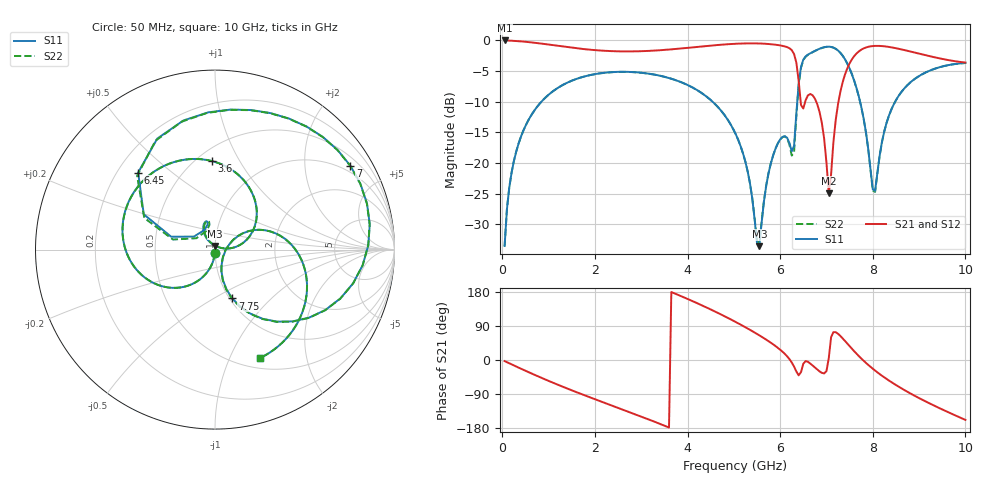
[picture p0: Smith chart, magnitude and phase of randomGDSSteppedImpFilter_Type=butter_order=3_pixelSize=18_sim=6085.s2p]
! freq	dB(S11)	phase(S11)	dB(S12)	phase(S12)
!  dB(S21)	phase(S21)	dB(S22)	phase(S22)
!S-par simulation data
#  GHz  S  DB  R 50
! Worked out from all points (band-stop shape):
!   200 points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, 50 MHz to 10 GHz, reference 50 ohm
!   highest |S21| = -0.01 dB at 50 MHz (marker M1); lowest = -25.0 dB at 7.05 GHz (marker M2)
!   |S21| within 3 dB of the highest: start of sweep to 6.328 GHz; 7.557 GHz to 9.491 GHz (1.934 GHz wide, 22.7 % of centre)
!   lowest |S11| = -33.6 dB at 5.55 GHz (marker M3), VSWR 1.04, Z = 50.1 + j2.09 ohm
!   |S11| at or under -10 dB: start of sweep to 845.3 MHz; 4.54 GHz to 6.37 GHz (1.829 GHz wide, 33.5 % of centre); 7.725 GHz to 8.484 GHz (758.6 MHz wide, 9.36 % of centre)
!   |S22| runs from -33.6 to -1.0 dB; largest |S21 - S12| = 0
!   S11 on the Smith chart (normalised r, x): 50 MHz: 1.00, -0.04; 3.6 GHz: 0.59, +0.77; 6.45 GHz: 0.28, +0.39; 7 GHz: 0.77, +3.36; 7.75 GHz: 1.03, -0.61; 10 GHz: 0.62, -1.31
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0.05  -33.56 -92.9  -0.01 -2.9  -0.01 -2.9  -33.58 -92.9
0.2  -21.60 -101.9  -0.05 -11.5  -0.05 -11.5  -21.59 -101.9
0.5  -13.97 -118.9  -0.22 -28.4  -0.22 -28.4  -13.96 -119.0
1.75  -5.93 177.6  -1.41 -91.9  -1.41 -91.9  -5.93 177.5
3.4  -5.75 101.6  -1.60 -168.3  -1.60 -168.3  -5.75 101.5
3.6  -6.14 91.9  -1.49 -178.2  -1.49 -178.2  -6.14 91.7
4.35  -8.82 53.2  -0.95 142.0  -0.95 142.0  -8.82 53.0
5.05  -15.46 14.7  -0.54 99.7  -0.54 99.7  -15.46 14.6
5.55  -33.59 86.8  -0.50 65.1  -0.50 65.1  -33.13 85.0
5.85  -18.73 122.7  -0.66 41.2  -0.66 41.2  -18.71 120.9
6.2  -16.73 106.4  -1.27 2.4  -1.27 2.4  -16.99 102.5
6.3  -17.22 148.2  -2.22 -17.4  -2.22 -17.4  -18.28 148.8
6.45  -4.34 134.9  -10.54 -32.0  -10.54 -32.0  -4.47 136.5
6.7  -1.90 75.4  -8.95 -14.6  -8.95 -14.6  -1.92 75.8
7  -1.04 31.7  -19.96 -29.4  -19.96 -29.4  -1.05 31.8
7.05  -1.02 24.4  -24.95 5.1  -24.95 5.1  -1.03 24.4
7.3  -2.02 -13.7  -8.39 63.5  -8.39 63.5  -2.03 -13.8
7.75  -10.79 -70.5  -1.52 4.2  -1.52 4.2  -10.80 -70.9
8.05  -24.54 -3.6  -0.89 -27.9  -0.89 -27.9  -24.72 -3.2
8.35  -12.26 26.5  -1.06 -54.3  -1.06 -54.3  -12.27 26.6
9.15  -5.20 -21.1  -2.43 -109.9  -2.43 -109.9  -5.20 -21.2
10  -3.69 -67.4  -3.61 -158.1  -3.61 -158.1  -3.69 -67.5
